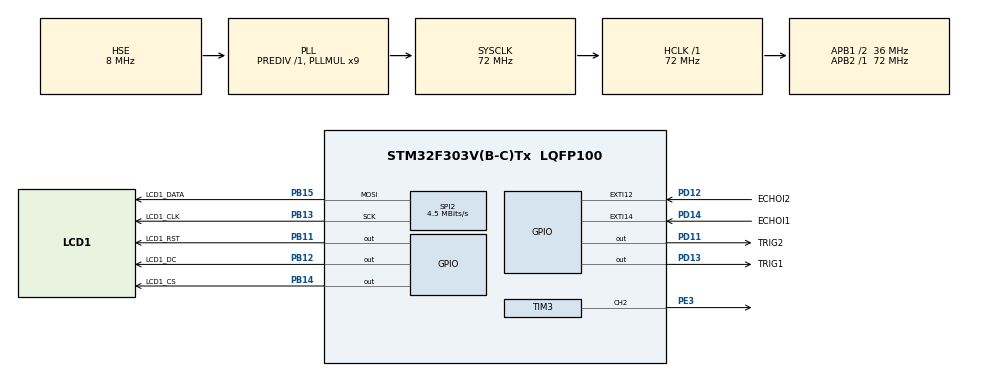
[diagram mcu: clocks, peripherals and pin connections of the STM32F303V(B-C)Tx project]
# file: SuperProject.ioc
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Mcu.Family=STM32F3
Mcu.Name=STM32F303V(B-C)Tx
Mcu.Package=LQFP100
NVIC.EXTI15_10_IRQn=true\:0\:0\:false\:false\:true\:true
NVIC.PriorityGroup=NVIC_PRIORITYGROUP_4
NVIC.TIM6_DAC_IRQn=true\:0\:0\:false\:false\:true\:true
PB11.GPIO_Label=LCD1_RST
PB11.Signal=GPIO_Output
PB12.GPIO_Label=LCD1_DC
PB12.Signal=GPIO_Output
PB13.GPIO_Label=LCD1_CLK
PB13.Mode=TX_Only_Simplex_Unidirect_Master
PB13.Signal=SPI2_SCK
PB14.GPIO_Label=LCD1_CS
PB14.Signal=GPIO_Output
PB15.GPIO_Label=LCD1_DATA
PB15.Mode=TX_Only_Simplex_Unidirect_Master
PB15.Signal=SPI2_MOSI
PD11.GPIO_Label=TRIG2
PD11.Signal=GPIO_Output
PD12.GPIO_Label=ECHOI2
PD12.GPIO_ModeDefaultEXTI=GPIO_MODE_IT_RISING_FALLING
PD12.Signal=GPXTI12
PD13.GPIO_Label=TRIG1
PD13.Signal=GPIO_Output
PD14.GPIO_Label=ECHOI1
PD14.GPIO_ModeDefaultEXTI=GPIO_MODE_IT_RISING_FALLING
PD14.Signal=GPXTI14
PE3.Signal=S_TIM3_CH2
PF0-OSC_IN.Mode=HSE-External-Clock-Source
PF0-OSC_IN.Signal=RCC_OSC_IN
ProjectManager.HeapSize=0x200
ProjectManager.StackSize=0x400
ProjectManager.TargetToolchain=SW4STM32
RCC.AHBFreq_Value=72000000
RCC.APB1CLKDivider=RCC_HCLK_DIV2
RCC.APB1Freq_Value=36000000
RCC.APB1TimFreq_Value=72000000
RCC.APB2Freq_Value=72000000
RCC.APB2TimFreq_Value=72000000
RCC.CortexFreq_Value=72000000
RCC.HCLKFreq_Value=72000000
RCC.HSE_VALUE=8000000
RCC.HSI_VALUE=8000000
RCC.LSE_VALUE=32768
RCC.PLLMUL=RCC_PLL_MUL9
RCC.PLLSourceVirtual=RCC_PLLSOURCE_HSE
RCC.SYSCLKFreq_VALUE=72000000
RCC.SYSCLKSourceVirtual=RCC_SYSCLKSOURCE_PLLCLK
RCC.USBFreq_Value=72000000
SH.S_TIM3_CH2.0=TIM3_CH2,PWM Generation2 CH2
SPI2.BaudRatePrescaler=SPI_BAUDRATEPRESCALER_8
SPI2.CalculateBaudRate=4.5 MBits/s
SPI2.DataSize=SPI_DATASIZE_8BIT
SPI2.Direction=SPI_DIRECTION_2LINES
SPI2.Mode=SPI_MODE_MASTER
SPI2.VirtualType=VM_MASTER
TIM3.Channel-PWM\ Generation2\ CH2=TIM_CHANNEL_2
TIM3.Period=20000
TIM3.Prescaler=71
TIM6.Period=10000
TIM6.Prescaler=63
VP_TIM3_VS_ClockSourceINT.Mode=Internal
VP_TIM6_VS_ClockSourceINT.Mode=Enable_Timer
board=SuperProject

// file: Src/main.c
/**
  ******************************************************************************
  * File Name          : main.c
  * Description        : Main program body
  ******************************************************************************
  ** This notice applies to any and all portions of this file
  * that are not between comment pairs USER CODE BEGIN and
  * USER CODE END. Other portions of this file, whether
  * inserted by the user or by software development tools
  * are owned by their respective copyright owners.
  *
  * COPYRIGHT(c) 2018 STMicroelectronics
  *
  * Redistribution and use in source and binary forms, with or without modification,
  * are permitted provided that the following conditions are met:
  *   1. Redistributions of source code must retain the above copyright notice,
  *      this list of conditions and the following disclaimer.
  *   2. Redistributions in binary form must reproduce the above copyright notice,
  *      this list of conditions and the following disclaimer in the documentation
  *      and/or other materials provided with the distribution.
  *   3. Neither the name of STMicroelectronics nor the names of its contributors
  *      may be used to endorse or promote products derived from this software
  *      without specific prior written permission.
  *
  * THIS SOFTWARE IS PROVIDED BY THE COPYRIGHT HOLDERS AND CONTRIBUTORS "AS IS"
  * AND ANY EXPRESS OR IMPLIED WARRANTIES, INCLUDING, BUT NOT LIMITED TO, THE
  * IMPLIED WARRANTIES OF MERCHANTABILITY AND FITNESS FOR A PARTICULAR PURPOSE ARE
  * DISCLAIMED. IN NO EVENT SHALL THE COPYRIGHT HOLDER OR CONTRIBUTORS BE LIABLE
  * FOR ANY DIRECT, INDIRECT, INCIDENTAL, SPECIAL, EXEMPLARY, OR CONSEQUENTIAL
  * DAMAGES (INCLUDING, BUT NOT LIMITED TO, PROCUREMENT OF SUBSTITUTE GOODS OR
  * SERVICES; LOSS OF USE, DATA, OR PROFITS; OR BUSINESS INTERRUPTION) HOWEVER
  * CAUSED AND ON ANY THEORY OF LIABILITY, WHETHER IN CONTRACT, STRICT LIABILITY,
  * OR TORT (INCLUDING NEGLIGENCE OR OTHERWISE) ARISING IN ANY WAY OUT OF THE USE
  * OF THIS SOFTWARE, EVEN IF ADVISED OF THE POSSIBILITY OF SUCH DAMAGE.
  *
  ******************************************************************************
  */
#include "main.h"
#include "stm32f3xx_hal.h"
#include "spi.h"
#include "tim.h"
#include "gpio.h"

/* USER CODE BEGIN Includes */
#include "screen.h"
#include "micro_servo.h"
#include "echo_locator.h"

#define SystemCoreClockInMHz (SystemCoreClock/1000000)
#define ECHOPort GPIOD

/*
 * Echo_Locator
 * ECHOPort GPIOD
 * echo_locator_1 ECHOI1_Pin - PD14; TRIG1_Pin - PD13; ECHOPort
 * echo_locator_2 ECHOI2_Pin - PD12; TRIG2_Pin - PD11; ECHOPort
 *
 * Display/Screen
 * 1. GND - GND
 * 2. Light - GND
 * 3. VCC - VCC
 * 4. CLK - PB13 - LCD1_CLK_Pin
 * 5. DIN - PB15 - LCD1_DATA_Pin
 * 6. DC - PB12 - LCD1_DC_Pin
 * 7. CE - PB14 - LCD1_CS_Pin
 * 8. RST - PB11 - LCD1_RST_Pin
 *
 * MicroServo
 * TIM3_CH2 - PE3
 */

/* USER CODE END Includes */

/* USER CODE BEGIN PV */
/* Private variables ---------------------------------------------------------*/

Echo_Locator * echo_locator_1;
Echo_Locator * echo_locator_2;
volatile uint32_t tim6_overflows = 0;

/* USER CODE END PV */

void SystemClock_Config(void);

/* USER CODE BEGIN PFP */
/* Private function prototypes -----------------------------------------------*/
inline void TIM6_reinit()
{
 HAL_TIM_Base_Stop(&htim6);
 __HAL_TIM_SET_PRESCALER( &htim6, (SystemCoreClockInMHz-1) );
 __HAL_TIM_SET_COUNTER( &htim6, 0 );
 tim6_overflows = 0;
 HAL_TIM_Base_Start_IT(&htim6);
}

void HAL_TIM_PeriodElapsedCallback(TIM_HandleTypeDef *htim)
{
  if( htim->Instance == TIM6 )
  {
   ++tim6_overflows;
  }
}

uint32_t get_tim6_us()
{
 __HAL_TIM_DISABLE_IT(&htim6, TIM_IT_UPDATE); //! Disable IRQ
 //__disable_irq();
 uint32_t total_tick = tim6_overflows * 10000 + __HAL_TIM_GET_COUNTER(&htim6);
 //__enable_irq();
 __HAL_TIM_ENABLE_IT(&htim6, TIM_IT_UPDATE);
 return total_tick;
}

void udelay_TIM6(uint32_t useconds) {
 uint32_t before = get_tim6_us();
 while( get_tim6_us() < before+useconds){}
}

void HAL_GPIO_EXTI_Callback(uint16_t GPIO_Pin)
{
 if (GPIO_Pin == ECHOI1_Pin)
 {
	 echo_locator_callback(echo_locator_1);
 }
 else if(GPIO_Pin == ECHOI2_Pin)
 {
	 echo_locator_callback(echo_locator_2);
 }
}

/* USER CODE END PFP */

int main(void)
{

  /* MCU Configuration----------------------------------------------------------*/

  /* Reset of all peripherals, Initializes the Flash interface and the Systick. */
  HAL_Init();

  /* Configure the system clock */
  SystemClock_Config();

  /* Initialize all configured peripherals */
  MX_GPIO_Init();
  MX_TIM3_Init();
  MX_SPI2_Init();
  MX_TIM6_Init();

  /* USER CODE BEGIN 2 */

  HAL_TIM_PWM_Start(&htim3, TIM_CHANNEL_2);
  TIM6_reinit();
  LCD_INIT();

  LCD_PRINT_UI();

  echo_locator_1 = Echo_Locator__create(ECHOPort, ECHOI1_Pin, ECHOPort, TRIG1_Pin);
  echo_locator_2 = Echo_Locator__create(ECHOPort, ECHOI2_Pin, ECHOPort, TRIG2_Pin);

  int angle = 0;

  Set_Min_Position();
  /* USER CODE END 2 */

  /* Infinite loop */
  while (1)
  {

  /* USER CODE BEGIN 3 */

	  angle = ((int)(angle + 15)) % 360;
	  if (angle > 180) {
	      Set_Position(360-angle);
	  } else {
		  Set_Position(	angle);
	  }

	  //printf("H\n");
	  //printf("%d\n", measure_distance(echo_locator_2));
	  u_LCD_DRAWPOINT(angle % 180, filtered_measurement(echo_locator_1, 5));
	  u_LCD_DRAWPOINT(180+(angle % 180), filtered_measurement(echo_locator_2, 5));
	  udelay_TIM6(100000);
  }
  /* USER CODE END 3 */

}

/** System Clock Configuration
*/
void SystemClock_Config(void)
{

  RCC_OscInitTypeDef RCC_OscInitStruct;
  RCC_ClkInitTypeDef RCC_ClkInitStruct;

    /**Initializes the CPU, AHB and APB busses clocks
    */
  RCC_OscInitStruct.OscillatorType = RCC_OSCILLATORTYPE_HSE;
  RCC_OscInitStruct.HSEState = RCC_HSE_BYPASS;
  RCC_OscInitStruct.HSEPredivValue = RCC_HSE_PREDIV_DIV1;
  RCC_OscInitStruct.HSIState = RCC_HSI_ON;
  RCC_OscInitStruct.PLL.PLLState = RCC_PLL_ON;
  RCC_OscInitStruct.PLL.PLLSource = RCC_PLLSOURCE_HSE;
  RCC_OscInitStruct.PLL.PLLMUL = RCC_PLL_MUL9;
  if (HAL_RCC_OscConfig(&RCC_OscInitStruct) != HAL_OK)
  {
    _Error_Handler(__FILE__, __LINE__);
  }

    /**Initializes the CPU, AHB and APB busses clocks
    */
  RCC_ClkInitStruct.ClockType = RCC_CLOCKTYPE_HCLK|RCC_CLOCKTYPE_SYSCLK
                              |RCC_CLOCKTYPE_PCLK1|RCC_CLOCKTYPE_PCLK2;
  RCC_ClkInitStruct.SYSCLKSource = RCC_SYSCLKSOURCE_PLLCLK;
  RCC_ClkInitStruct.AHBCLKDivider = RCC_SYSCLK_DIV1;
  RCC_ClkInitStruct.APB1CLKDivider = RCC_HCLK_DIV2;
  RCC_ClkInitStruct.APB2CLKDivider = RCC_HCLK_DIV1;

  if (HAL_RCC_ClockConfig(&RCC_ClkInitStruct, FLASH_LATENCY_2) != HAL_OK)
  {
    _Error_Handler(__FILE__, __LINE__);
  }

    /**Configure the Systick interrupt time
    */
  HAL_SYSTICK_Config(HAL_RCC_GetHCLKFreq()/1000);

    /**Configure the Systick
    */
  HAL_SYSTICK_CLKSourceConfig(SYSTICK_CLKSOURCE_HCLK);

  /* SysTick_IRQn interrupt configuration */
  HAL_NVIC_SetPriority(SysTick_IRQn, 0, 0);
}

void _Error_Handler(char * file, int line)
{
  while(1)
  {
  }
}

/************************ (C) COPYRIGHT STMicroelectronics *****END OF FILE****/
